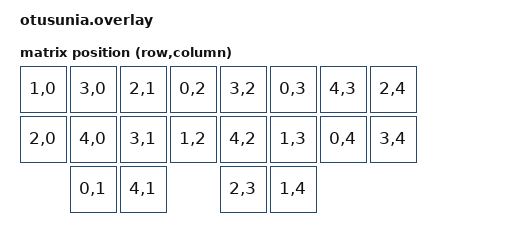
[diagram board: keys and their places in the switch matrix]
#include <dt-bindings/zmk/matrix_transform.h>
#include <input/processors.dtsi>

/ {
    chosen {
        zmk,kscan = &kscan0;
        zmk,matrix_transform = &default_transform;
    };

    /* ---------- KSCAN (Charlieplex) ---------- */
    kscan0: kscan {
        compatible = "zmk,kscan-gpio-charlieplex";
        label = "KSCAN";
        gpios =
            <&xiao_d 0 (GPIO_ACTIVE_HIGH | GPIO_PULL_DOWN)>,
            <&xiao_d 1 (GPIO_ACTIVE_HIGH | GPIO_PULL_DOWN)>,
            <&xiao_d 2 (GPIO_ACTIVE_HIGH | GPIO_PULL_DOWN)>,
            <&xiao_d 3 (GPIO_ACTIVE_HIGH | GPIO_PULL_DOWN)>,
            <&xiao_d 4 (GPIO_ACTIVE_HIGH | GPIO_PULL_DOWN)>;
    };

    /* ---------- Matrix Transform ---------- */
    default_transform: keymap_transform_0 {
        compatible = "zmk,matrix-transform";
        rows = <3>;
        columns = <8>;
        map = <
            RC(1,0) RC(3,0) RC(2,1) RC(0,2) RC(3,2) RC(0,3) RC(4,3) RC(2,4)
            RC(2,0) RC(4,0) RC(3,1) RC(1,2) RC(4,2) RC(1,3) RC(0,4) RC(3,4)
                    RC(0,1) RC(4,1)        RC(2,3) RC(1,4)
        >;
    };
};

/* ---------- SPI pinctrl ---------- */
&pinctrl {
    spi0_default: spi0_default {
        group1 {
            psels =
                <NRF_PSEL(SPIM_SCK,  1, 13)>,
                <NRF_PSEL(SPIM_MOSI, 1, 14)>,
                <NRF_PSEL(SPIM_MISO, 1, 14)>;
        };
    };

    spi0_sleep: spi0_sleep {
        group1 {
            psels =
                <NRF_PSEL(SPIM_SCK,  1, 13)>,
                <NRF_PSEL(SPIM_MOSI, 1, 14)>,
                <NRF_PSEL(SPIM_MISO, 1, 14)>;
            low-power-enable;
        };
    };
};

/* UART 不要 */
&uart0 {
    status = "disabled";
};

/* ---------- SPI / Trackball ---------- */
&spi0 {
    status = "okay";
    compatible = "nordic,nrf-spim";

    pinctrl-0 = <&spi0_default>;
    pinctrl-1 = <&spi0_sleep>;
    pinctrl-names = "default", "sleep";

    cs-gpios = <&xiao_d 7 GPIO_ACTIVE_LOW>;

    trackball: trackball@0 {
        status = "okay";
        compatible = "pixart,pmw3610";
        reg = <0>;
        spi-max-frequency = <2000000>;

        motion-gpios = <&xiao_d 5 GPIO_ACTIVE_LOW>;

        zephyr,axis-x = <0>;
        zephyr,axis-y = <1>;
    };
};

/* ---------- Pointing Device Wrapper ---------- */
 / {
    pointing_device: pointing_device {
        compatible = "zmk,pointing-device";
        device = <&trackball>;
    };
};

/* ---------- Input Listener + Temp Layer ---------- */
 / {
    trackball_listener: trackball_listener {
        compatible = "zmk,input-listener";
        device = <&pointing_device>;

        /* トラックボール入力でレイヤー1を 2000ms 有効化 */
        input-processors = <&zip_temp_layer 1 2000>;
    };

    zip_temp_layer: zip_temp_layer {
        compatible = "zmk,input-processor-temp-layer";
        #input-processor-cells = <2>;

        /* タイピング直後は発火しない */
        require-prior-idle-ms = <300>;

        /* 物理キー番号（必要に応じて調整） */
        excluded-positions = <5 6>;
    };
};
